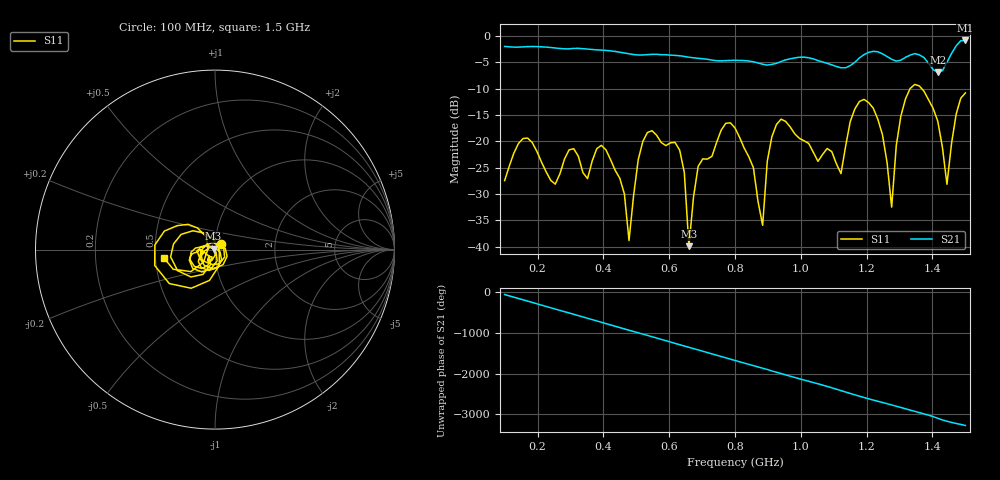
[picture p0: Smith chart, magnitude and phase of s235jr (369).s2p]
! NanoVNA-App
! Date: 2025-09-25 15:07:02
! Start: 100MHz Stop: 1,5GHz Points: 101
! S-Parameter data: F S11 S21 S12 S22
# Hz S RI R 50
!  Frequency  S11_Real  S11_Imag  S21_Real  S21_Imag  S12_Real  S12_Imag  S22_Real  S22_Imag
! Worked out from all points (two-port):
!   101 points, 100 MHz to 1.5 GHz, reference 50 ohm
!   highest |S21| = -0.83 dB at 1.5 GHz (marker M1); lowest = -6.9 dB at 1.416 GHz (marker M2)
!   |S21| within 3 dB of the highest: start of sweep to 641.8 MHz; 1.185 GHz to 1.261 GHz (75.4 MHz wide, 6.17 % of centre)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
!   lowest |S11| = -39.9 dB at 660 MHz (marker M3), VSWR 1.02, Z = 49.2 + j0.581 ohm
!   |S11| at or under -10 dB: start of sweep to 1.332 GHz; 1.368 GHz to end of sweep
!   S12 and S22 are empty: the file has one direction only
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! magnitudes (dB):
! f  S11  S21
! 100 MHz  -27.5  -2.0
! 170 MHz  -19.4  -2.0
! 338 MHz  -26.0  -2.4
! 408 MHz  -21.6  -2.7
! 478 MHz  -38.9  -3.4
! 520 MHz  -20.0  -3.6
! 576 MHz  -20.2  -3.5
! 632 MHz  -21.7  -3.7
! 660 MHz  -39.9  -4.0
! 688 MHz  -24.8  -4.2
! 800 MHz  -17.5  -4.6
! 884 MHz  -36.0  -5.3
! 926 MHz  -16.8  -5.2
! 1.038 GHz  -22.1  -4.3
! 1.122 GHz  -26.1  -6.0
! 1.192 GHz  -12.0  -3.5
! 1.248 GHz  -18.7  -3.4
! 1.276 GHz  -32.5  -4.4
! 1.332 GHz  -10.0  -3.6
! 1.416 GHz  -16.2  -6.9
! 1.444 GHz  -28.2  -5.0
! 1.5 GHz  -10.8  -0.8
